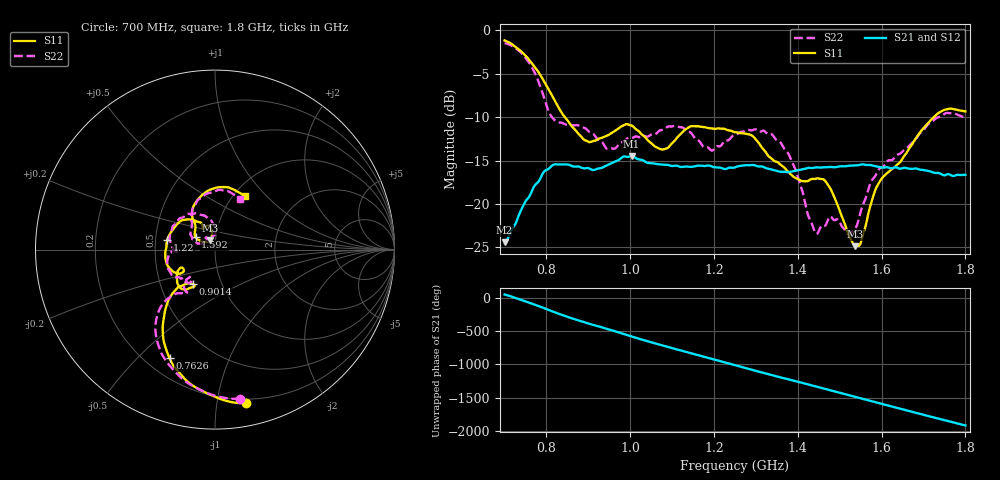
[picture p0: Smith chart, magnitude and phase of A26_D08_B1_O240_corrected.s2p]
! Created with skrf 1.9.0 (http://scikit-rf.org).
# Hz S RI R 50.0
!freq ReS11 ImS11 ReS21 ImS21 ReS12 ImS12 ReS22 ImS22
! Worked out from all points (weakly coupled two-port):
!   1601 points, 700 MHz to 1.8 GHz, reference 50 ohm
!   highest |S21| = -14.48 dB at 1.003 GHz (marker M1); lowest = -24.4 dB at 700 MHz (marker M2)
!   lowest |S11| = -24.9 dB at 1.537 GHz (marker M3), VSWR 1.12, Z = 47.3 + j4.85 ohm
!   |S11| at or under -10 dB: 843.8 MHz to 1.725 GHz (880.8 MHz wide, 68.6 % of centre)
!   |S22| runs from -23.6 to -1.5 dB; largest |S21 - S12| = 0.0036
!   S11 on the Smith chart (normalised r, x): 700 MHz: 0.17, -1.21; 762.6 MHz: 0.29, -0.63; 901.4 MHz: 0.73, -0.30; 1.22 GHz: 0.58, +0.07; 1.592 GHz: 0.80, +0.12; 1.8 GHz: 1.12, +0.76
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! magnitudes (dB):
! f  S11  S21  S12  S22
! 700 MHz  -1.2  -24.4  -24.2  -1.5
! 762.6 MHz  -3.7  -18.8  -18.8  -4.0
! 814.8 MHz  -7.6  -15.5  -15.6  -10.1
! 883.6 MHz  -12.3  -15.8  -15.7  -11.2
! 901.4 MHz  -12.9  -15.9  -15.9  -11.7
! 947.5 MHz  -12.1  -15.5  -15.5  -13.7
! 1.003 GHz  -11.0  -14.5  -14.6  -12.4
! 1.067 GHz  -13.6  -15.4  -15.4  -11.7
! 1.144 GHz  -11.1  -15.7  -15.7  -11.8
! 1.193 GHz  -11.3  -15.6  -15.6  -13.8
! 1.22 GHz  -11.3  -15.9  -15.9  -13.0
! 1.25 GHz  -11.7  -15.8  -15.7  -12.1
! 1.359 GHz  -15.5  -16.3  -16.3  -12.9
! 1.394 GHz  -17.0  -16.2  -16.2  -15.9
! 1.434 GHz  -17.1  -15.9  -15.8  -22.3
! 1.473 GHz  -17.9  -15.8  -15.8  -21.7
! 1.537 GHz  -24.9  -15.6  -15.6  -22.8
! 1.551 GHz  -24.3  -15.5  -15.5  -20.7
! 1.592 GHz  -17.7  -15.7  -15.7  -16.2
! 1.617 GHz  -16.3  -15.8  -15.8  -15.0
! 1.733 GHz  -9.6  -16.4  -16.5  -10.0
! 1.8 GHz  -9.3  -16.6  -16.6  -10.0
